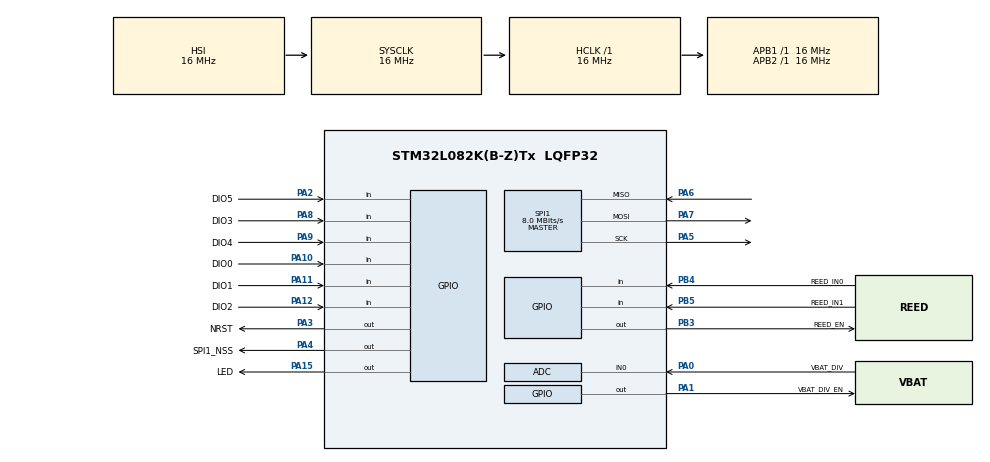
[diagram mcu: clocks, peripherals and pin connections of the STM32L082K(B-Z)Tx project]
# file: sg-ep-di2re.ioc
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ADC.SamplingTime=ADC_SAMPLETIME_7CYCLES_5
LPTIM1.ClockPrescaler=LPTIM_PRESCALER_DIV1
Mcu.Family=STM32L0
Mcu.Name=STM32L082K(B-Z)Tx
Mcu.Package=LQFP32
NVIC.LPTIM1_IRQn=true\:0\:0\:false\:false\:true\:true
PA0.GPIO_Label=VBAT_DIV
PA0.Mode=IN0
PA0.Signal=ADC_IN0
PA1.GPIO_Label=VBAT_DIV_EN
PA1.PinState=GPIO_PIN_SET
PA1.Signal=GPIO_Output
PA10.GPIO_Label=DIO0
PA10.Signal=GPIO_Input
PA11.GPIO_Label=DIO1
PA11.Signal=GPIO_Input
PA12.GPIO_Label=DIO2
PA12.Signal=GPIO_Input
PA13.Mode=Serial_Wire
PA13.Signal=SYS_SWDIO
PA14.Mode=Serial_Wire
PA14.Signal=SYS_SWCLK
PA15.GPIO_Label=LED
PA15.Signal=GPIO_Output
PA2.GPIO_Label=DIO5
PA2.Signal=GPIO_Input
PA3.GPIO_Label=NRST
PA3.GPIO_ModeDefaultOutputPP=GPIO_MODE_OUTPUT_OD
PA3.PinState=GPIO_PIN_SET
PA3.Signal=GPIO_Output
PA4.GPIO_Label=SPI1_NSS
PA4.PinState=GPIO_PIN_SET
PA4.Signal=GPIO_Output
PA5.Mode=Full_Duplex_Master
PA5.Signal=SPI1_SCK
PA6.Mode=Full_Duplex_Master
PA6.Signal=SPI1_MISO
PA7.Mode=Full_Duplex_Master
PA7.Signal=SPI1_MOSI
PA8.GPIO_Label=DIO3
PA8.Signal=GPIO_Input
PA9.GPIO_Label=DIO4
PA9.Signal=GPIO_Input
PB3.GPIO_Label=REED_EN
PB3.Signal=GPIO_Output
PB4.GPIO_Label=REED_IN0
PB4.Signal=GPIO_Input
PB5.GPIO_Label=REED_IN1
PB5.Signal=GPIO_Input
PC14-OSC32_IN.Mode=LSE-External-Oscillator
PC14-OSC32_IN.Signal=RCC_OSC32_IN
PC15-OSC32_OUT.Mode=LSE-External-Oscillator
PC15-OSC32_OUT.Signal=RCC_OSC32_OUT
ProjectManager.HeapSize=0x200
ProjectManager.StackSize=0x400
ProjectManager.TargetToolchain=SW4STM32
RCC.AHBFreq_Value=16000000
RCC.APB1Freq_Value=16000000
RCC.APB1TimFreq_Value=16000000
RCC.APB2Freq_Value=16000000
RCC.APB2TimFreq_Value=16000000
RCC.EnableCSSLSE=true
RCC.HCLKFreq_Value=16000000
RCC.HSE_VALUE=8000000
RCC.HSI16_VALUE=16000000
RCC.HSI48_VALUE=48000000
RCC.HSI_VALUE=16000000
RCC.LptimClockSelection=RCC_LPTIM1CLKSOURCE_LSE
RCC.MSIClockRange=RCC_MSIRANGE_4
RCC.MSI_VALUE=1048000
RCC.RTCClockSelectionVirtual=RCC_RTCCLKSOURCE_LSE
RCC.SYSCLKFreq_VALUE=16000000
RCC.SYSCLKSource=RCC_SYSCLKSOURCE_HSI
RCC.VCOOutputFreq_Value=48000000
SPI1.CalculateBaudRate=8.0 MBits/s
SPI1.Direction=SPI_DIRECTION_2LINES
SPI1.Mode=SPI_MODE_MASTER
SPI1.VirtualType=VM_MASTER
VP_LPTIM1_VS_LPTIM_counterModeInternalClock.Mode=Counts__internal_clock_event_00
VP_RTC_VS_RTC_Activate.Mode=RTC_Enabled
board=sg-ep-di2re

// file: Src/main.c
/**
  ******************************************************************************
  * @file           : main.c
  * @brief          : Main program body
  ******************************************************************************
  ** This notice applies to any and all portions of this file
  * that are not between comment pairs USER CODE BEGIN and
  * USER CODE END. Other portions of this file, whether
  * inserted by the user or by software development tools
  * are owned by their respective copyright owners.
  *
  * COPYRIGHT(c) 2018 STMicroelectronics
  *
  * Redistribution and use in source and binary forms, with or without modification,
  * are permitted provided that the following conditions are met:
  *   1. Redistributions of source code must retain the above copyright notice,
  *      this list of conditions and the following disclaimer.
  *   2. Redistributions in binary form must reproduce the above copyright notice,
  *      this list of conditions and the following disclaimer in the documentation
  *      and/or other materials provided with the distribution.
  *   3. Neither the name of STMicroelectronics nor the names of its contributors
  *      may be used to endorse or promote products derived from this software
  *      without specific prior written permission.
  *
  * THIS SOFTWARE IS PROVIDED BY THE COPYRIGHT HOLDERS AND CONTRIBUTORS "AS IS"
  * AND ANY EXPRESS OR IMPLIED WARRANTIES, INCLUDING, BUT NOT LIMITED TO, THE
  * IMPLIED WARRANTIES OF MERCHANTABILITY AND FITNESS FOR A PARTICULAR PURPOSE ARE
  * DISCLAIMED. IN NO EVENT SHALL THE COPYRIGHT HOLDER OR CONTRIBUTORS BE LIABLE
  * FOR ANY DIRECT, INDIRECT, INCIDENTAL, SPECIAL, EXEMPLARY, OR CONSEQUENTIAL
  * DAMAGES (INCLUDING, BUT NOT LIMITED TO, PROCUREMENT OF SUBSTITUTE GOODS OR
  * SERVICES; LOSS OF USE, DATA, OR PROFITS; OR BUSINESS INTERRUPTION) HOWEVER
  * CAUSED AND ON ANY THEORY OF LIABILITY, WHETHER IN CONTRACT, STRICT LIABILITY,
  * OR TORT (INCLUDING NEGLIGENCE OR OTHERWISE) ARISING IN ANY WAY OUT OF THE USE
  * OF THIS SOFTWARE, EVEN IF ADVISED OF THE POSSIBILITY OF SUCH DAMAGE.
  *
  ******************************************************************************
  */
#include "main.h"
#include "stm32l0xx_hal.h"

/* USER CODE BEGIN Includes */
#include "sx1276.h"
#include "mac.h"

typedef enum {
    STATE_INIT,
    STATE_READ_INPUTS,
    STATE_READ_BATTERY,
    STATE_TRANSMIT,
    STATE_LOW_POWER,
} STATE_T;

#define LOW_POWER_SLEEP_CYCLE_MS                    (200)
#define BATT_VOLTAGE_READ_CYCLE_MS                  (24 * 60 * 60 * 1000)
#define BATT_VOLTAGE_READ_ERROR                     (0xFFFF)

#if defined( REGION_AS923 )

#define RF_FREQUENCY                                923000000 // Hz

#elif defined( REGION_AU915 )

#define RF_FREQUENCY                                915000000 // Hz

#elif defined( REGION_CN470 )

#define RF_FREQUENCY                                470000000 // Hz

#elif defined( REGION_CN779 )

#define RF_FREQUENCY                                779000000 // Hz

#elif defined( REGION_EU433 )

#define RF_FREQUENCY                                433000000 // Hz

#elif defined( REGION_EU868 )

#define RF_FREQUENCY                                868000000 // Hz

#elif defined( REGION_KR920 )

#define RF_FREQUENCY                                920000000 // Hz

#elif defined( REGION_IN865 )

#define RF_FREQUENCY                                865000000 // Hz

#elif defined( REGION_US915 )

#define RF_FREQUENCY                                915000000 // Hz

#elif defined( REGION_US915_HYBRID )

#define RF_FREQUENCY                                915000000 // Hz

#else
    #error "Please define a frequency band in the compiler options."
#endif

#define TX_OUTPUT_POWER                             14        // dBm

#if defined( USE_MODEM_LORA )

#define LORA_BANDWIDTH                              0         // [0: 125 kHz,
                                                              //  1: 250 kHz,
                                                              //  2: 500 kHz,
                                                              //  3: Reserved]
#define LORA_SPREADING_FACTOR                       9         // [SF7..SF12]
#define LORA_CODINGRATE                             1         // [1: 4/5,
                                                              //  2: 4/6,
                                                              //  3: 4/7,
                                                              //  4: 4/8]
#define LORA_PREAMBLE_LENGTH                        8         // Same for Tx and Rx
#define LORA_SYMBOL_TIMEOUT                         0         // Symbols
#define LORA_FIX_LENGTH_PAYLOAD_ON                  false
#define LORA_CRC_ON                                 true
#define LORA_CRC_OFF                                false
#define LORA_IQ_INVERSION_ON                        false

#elif defined( USE_MODEM_FSK )

#define FSK_FDEV                                    25000     // Hz
#define FSK_DATARATE                                50000     // bps
#define FSK_BANDWIDTH                               1000000   // Hz >> DSB in sx126x
#define FSK_AFC_BANDWIDTH                           1000000   // Hz
#define FSK_PREAMBLE_LENGTH                         5         // Same for Tx and Rx
#define FSK_FIX_LENGTH_PAYLOAD_ON                   false

#else
    #error "Please define a modem in the compiler options."
#endif

#define RX_TIMEOUT_VALUE                            1000

/* USER CODE END Includes */

ADC_HandleTypeDef hadc;

LPTIM_HandleTypeDef hlptim1;

RTC_HandleTypeDef hrtc;

SPI_HandleTypeDef hspi1;

/* USER CODE BEGIN PV */
/* Private variables ---------------------------------------------------------*/
static volatile STATE_T state = STATE_INIT;
static uint8_t secret_key[] = {0xA1, 0x2F, 0x43, 0xBB};

/* USER CODE END PV */

void SystemClock_Config(void);
static void MX_GPIO_Init(void);
static void MX_SPI1_Init(void);
static void MX_LPTIM1_Init(void);
static void MX_ADC_Init(void);
static void MX_RTC_Init(void);

/* USER CODE BEGIN PFP */

//extern void initialise_monitor_handles(void);

/* Private function prototypes -----------------------------------------------*/

/* USER CODE END PFP */

/* USER CODE BEGIN 0 */

void DelayNOP(const uint32_t count) {
    for(uint32_t i = 0; i < count; i++) {
        asm("NOP");
    }
}

/**
  * @brief  Aturoreload match callback in non blocking mode
  * @param  hlptim : LPTIM handle
  * @retval None
  */
void HAL_LPTIM_AutoReloadMatchCallback(LPTIM_HandleTypeDef *hlptim)
{
  /* Prevent unused argument(s) compilation warning */
//  if(hlptim == &hlptim1) {
//      switch(state) {
//      case STATE_LOW_POWER:
//          state = STATE_RUN;
//          break;
//      default:
//          state = STATE_INIT;
//      }
//  }
}

/* USER CODE END 0 */

int main(void)
{
  /* USER CODE BEGIN 1 */
    static GPIO_PinState reed_ch0;
    static GPIO_PinState reed_ch0_old;
    static GPIO_PinState reed_ch1;
    static GPIO_PinState reed_ch1_old;
    static uint32_t adc_val;
    static uint32_t batt_millivolts;
    static uint8_t frame[5] = {0};
    static uint32_t lptim_sleep_value;
    static uint32_t read_batt_cnt;
    uint16_t mac;

  /* USER CODE END 1 */

  /* MCU Configuration----------------------------------------------------------*/

  /* Reset of all peripherals, Initializes the Flash interface and the Systick. */
  HAL_Init();

  /* Configure the system clock */
  SystemClock_Config();

  /* Initialize all configured peripherals */
  MX_GPIO_Init();
  MX_SPI1_Init();
  MX_LPTIM1_Init();
  MX_ADC_Init();
  MX_RTC_Init();
  /* USER CODE BEGIN 2 */

  if (HAL_ADCEx_Calibration_Start(&hadc, ADC_SINGLE_ENDED) != HAL_OK)
  {
      Error_Handler();
  }

  //  HAL_DBGMCU_EnableDBGSleepMode();
    HAL_DBGMCU_EnableDBGStopMode();
  //  HAL_DBGMCU_EnableDBGStandbyMode();

    lptim_sleep_value = LOW_POWER_SLEEP_CYCLE_MS * HAL_RCCEx_GetPeriphCLKFreq(RCC_PERIPHCLK_RTC) / 1000;    // using RCC_PERIPHCLK_RTC becuase RCC_PERIPHCLK_LTIM is not working

    SX1276Init();

    SX1276SetChannel( RF_FREQUENCY );

    SX1276SetTxConfig( MODEM_LORA, TX_OUTPUT_POWER, 0, LORA_BANDWIDTH,
                                   LORA_SPREADING_FACTOR, LORA_CODINGRATE,
                                   LORA_PREAMBLE_LENGTH, LORA_FIX_LENGTH_PAYLOAD_ON,
                                   LORA_CRC_OFF, 0, 0, LORA_IQ_INVERSION_ON, 3000 );

//    SX1276SetRxConfig( MODEM_LORA, LORA_BANDWIDTH, LORA_SPREADING_FACTOR,
//                                   LORA_CODINGRATE, 0, LORA_PREAMBLE_LENGTH,
//                                   LORA_SYMBOL_TIMEOUT, LORA_FIX_LENGTH_PAYLOAD_ON,
//                                   0, true, 0, 0, LORA_IQ_INVERSION_ON, true );

  /* USER CODE END 2 */

  /* Infinite loop */
  /* USER CODE BEGIN WHILE */
    while (1) {

        switch (state) {

        case STATE_INIT:
            HAL_GPIO_WritePin(REED_EN_GPIO_Port, REED_EN_Pin, GPIO_PIN_SET);
            reed_ch0 = HAL_GPIO_ReadPin(REED_IN0_GPIO_Port, REED_IN0_Pin);
            reed_ch0_old = reed_ch0;
            reed_ch1 = HAL_GPIO_ReadPin(REED_IN1_GPIO_Port, REED_IN1_Pin);
            reed_ch1_old = reed_ch1;
            HAL_GPIO_WritePin(REED_EN_GPIO_Port, REED_EN_Pin, GPIO_PIN_RESET);
            read_batt_cnt = (BATT_VOLTAGE_READ_CYCLE_MS - 500) / LOW_POWER_SLEEP_CYCLE_MS;
            state = STATE_LOW_POWER;
            break;

        case STATE_READ_INPUTS:
            HAL_GPIO_WritePin(REED_EN_GPIO_Port, REED_EN_Pin, GPIO_PIN_SET);
            reed_ch0 = HAL_GPIO_ReadPin(REED_IN0_GPIO_Port, REED_IN0_Pin);
            reed_ch1 = HAL_GPIO_ReadPin(REED_IN1_GPIO_Port, REED_IN1_Pin);
            HAL_GPIO_WritePin(REED_EN_GPIO_Port, REED_EN_Pin, GPIO_PIN_RESET);
            if ((reed_ch0 && !reed_ch0_old) || (reed_ch1 && !reed_ch1_old))  {
                state = STATE_TRANSMIT;
            }
            else if ((!reed_ch0 && reed_ch0_old) || (!reed_ch1 && reed_ch1_old))  {
                state = STATE_TRANSMIT;
            } else {
                if(read_batt_cnt >= (BATT_VOLTAGE_READ_CYCLE_MS / LOW_POWER_SLEEP_CYCLE_MS)) {
                    state = STATE_READ_BATTERY;
                    read_batt_cnt = 0;
                }
                else {
                    state = STATE_LOW_POWER;
                }
            }
            reed_ch0_old = reed_ch0;
            reed_ch1_old = reed_ch1;
            read_batt_cnt++;
            break;

        case STATE_READ_BATTERY:
            HAL_GPIO_WritePin(VBAT_DIV_EN_GPIO_Port, VBAT_DIV_EN_Pin, GPIO_PIN_RESET);
            if (HAL_ADC_Start(&hadc) == HAL_OK) {
                HAL_ADC_PollForConversion(&hadc, 20);
                if ((HAL_ADC_GetState(&hadc) & HAL_ADC_STATE_REG_EOC) == HAL_ADC_STATE_REG_EOC) {
                    adc_val = HAL_ADC_GetValue(&hadc);
                    batt_millivolts = (3349000 >> 12) * (adc_val << 1);
                    batt_millivolts = batt_millivolts / 1000;
                }
                else {
                   batt_millivolts = BATT_VOLTAGE_READ_ERROR;
                }
            }
            else {
                batt_millivolts = BATT_VOLTAGE_READ_ERROR;
            }
            HAL_GPIO_WritePin(VBAT_DIV_EN_GPIO_Port, VBAT_DIV_EN_Pin, GPIO_PIN_SET);

            state = STATE_TRANSMIT;
            break;

        case STATE_LOW_POWER:
            SX1276SetSleep();

            //Start time in one shot mode
            HAL_LPTIM_OnePulse_Start(&hlptim1, 0, lptim_sleep_value);

            // Enable Compare match interrupt
            __HAL_LPTIM_ENABLE_IT(&hlptim1, LPTIM_IT_CMPM);

            // Disable the Power Voltage Detector
            HAL_PWR_DisablePVD();

            // Enable Ultra low power mode
            HAL_PWREx_EnableUltraLowPower();

            // Enable the fast wake up from Ultra low power mode
            HAL_PWREx_EnableFastWakeUp();

            __HAL_PWR_CLEAR_FLAG(PWR_FLAG_WU);
//              HAL_GPIO_WritePin(LED_GPIO_Port, LED_Pin, GPIO_PIN_RESET);
            HAL_PWR_EnterSTOPMode(PWR_LOWPOWERREGULATOR_ON, PWR_STOPENTRY_WFI);
//              HAL_GPIO_WritePin(LED_GPIO_Port, LED_Pin, GPIO_PIN_SET);

            HAL_PWR_EnablePVD();
            __HAL_LPTIM_DISABLE_IT(&hlptim1, LPTIM_IT_CMPM);
            /* Enable HSI */
            __HAL_RCC_HSI_CONFIG(RCC_HSI_ON);
            /* Wait till HSE is ready */
            while ( __HAL_RCC_GET_FLAG( RCC_FLAG_HSIRDY ) == RESET);  //TODO guard

            state = STATE_READ_INPUTS;
            break;

        case STATE_TRANSMIT:
            // measured transmit duration is around 15ms
            HAL_GPIO_WritePin(LED_GPIO_Port, LED_Pin, GPIO_PIN_SET);

            frame[0] = (reed_ch1 << 1) | reed_ch0;
            frame[1] = (uint8_t)batt_millivolts;
            frame[2] = (uint8_t)(batt_millivolts >> 8);
            mac = MAC_hash(secret_key, sizeof(secret_key), frame, 3);
            frame[3] = (uint8_t)mac;
            frame[4] = (uint8_t)(mac >> 8);

            SX1276Send(frame, sizeof(frame));
            do {
                HAL_Delay(1);
            } while (SX1276Read(REG_LR_IRQFLAGS) & RFLR_IRQFLAGS_TXDONE); // TODO guard
            HAL_GPIO_WritePin(LED_GPIO_Port, LED_Pin, GPIO_PIN_RESET);
            state = STATE_LOW_POWER;
            break;

        default:
            state = STATE_INIT;

        }
  /* USER CODE END WHILE */

  }

}

void SystemClock_Config(void)
{

  RCC_OscInitTypeDef RCC_OscInitStruct;
  RCC_ClkInitTypeDef RCC_ClkInitStruct;
  RCC_PeriphCLKInitTypeDef PeriphClkInit;

    /**Configure the main internal regulator output voltage
    */
  __HAL_PWR_VOLTAGESCALING_CONFIG(PWR_REGULATOR_VOLTAGE_SCALE1);

    /**Configure LSE Drive Capability
    */
  HAL_PWR_EnableBkUpAccess();

  __HAL_RCC_LSEDRIVE_CONFIG(RCC_LSEDRIVE_LOW);

    /**Initializes the CPU, AHB and APB busses clocks
    */
  RCC_OscInitStruct.OscillatorType = RCC_OSCILLATORTYPE_HSI|RCC_OSCILLATORTYPE_LSE;
  RCC_OscInitStruct.LSEState = RCC_LSE_ON;
  RCC_OscInitStruct.HSIState = RCC_HSI_ON;
  RCC_OscInitStruct.HSICalibrationValue = 16;
  RCC_OscInitStruct.PLL.PLLState = RCC_PLL_NONE;
  if (HAL_RCC_OscConfig(&RCC_OscInitStruct) != HAL_OK)
  {
    _Error_Handler(__FILE__, __LINE__);
  }

    /**Initializes the CPU, AHB and APB busses clocks
    */
  RCC_ClkInitStruct.ClockType = RCC_CLOCKTYPE_HCLK|RCC_CLOCKTYPE_SYSCLK
                              |RCC_CLOCKTYPE_PCLK1|RCC_CLOCKTYPE_PCLK2;
  RCC_ClkInitStruct.SYSCLKSource = RCC_SYSCLKSOURCE_HSI;
  RCC_ClkInitStruct.AHBCLKDivider = RCC_SYSCLK_DIV1;
  RCC_ClkInitStruct.APB1CLKDivider = RCC_HCLK_DIV1;
  RCC_ClkInitStruct.APB2CLKDivider = RCC_HCLK_DIV1;

  if (HAL_RCC_ClockConfig(&RCC_ClkInitStruct, FLASH_LATENCY_0) != HAL_OK)
  {
    _Error_Handler(__FILE__, __LINE__);
  }

  PeriphClkInit.PeriphClockSelection = RCC_PERIPHCLK_RTC|RCC_PERIPHCLK_LPTIM1;
  PeriphClkInit.RTCClockSelection = RCC_RTCCLKSOURCE_LSE;
  PeriphClkInit.LptimClockSelection = RCC_LPTIM1CLKSOURCE_LSE;

  if (HAL_RCCEx_PeriphCLKConfig(&PeriphClkInit) != HAL_OK)
  {
    _Error_Handler(__FILE__, __LINE__);
  }

    /**Enables the Clock Security System
    */
  HAL_RCCEx_EnableLSECSS();

    /**Configure the Systick interrupt time
    */
  HAL_SYSTICK_Config(HAL_RCC_GetHCLKFreq()/1000);

    /**Configure the Systick
    */
  HAL_SYSTICK_CLKSourceConfig(SYSTICK_CLKSOURCE_HCLK);

  /* SysTick_IRQn interrupt configuration */
  HAL_NVIC_SetPriority(SysTick_IRQn, 0, 0);
}

/* ADC init function */
static void MX_ADC_Init(void)
{

  ADC_ChannelConfTypeDef sConfig;

    /**Configure the global features of the ADC (Clock, Resolution, Data Alignment and number of conversion)
    */
  hadc.Instance = ADC1;
  hadc.Init.OversamplingMode = DISABLE;
  hadc.Init.ClockPrescaler = ADC_CLOCK_SYNC_PCLK_DIV1;
  hadc.Init.Resolution = ADC_RESOLUTION_12B;
  hadc.Init.SamplingTime = ADC_SAMPLETIME_7CYCLES_5;
  hadc.Init.ScanConvMode = ADC_SCAN_DIRECTION_FORWARD;
  hadc.Init.DataAlign = ADC_DATAALIGN_RIGHT;
  hadc.Init.ContinuousConvMode = DISABLE;
  hadc.Init.DiscontinuousConvMode = DISABLE;
  hadc.Init.ExternalTrigConvEdge = ADC_EXTERNALTRIGCONVEDGE_NONE;
  hadc.Init.ExternalTrigConv = ADC_SOFTWARE_START;
  hadc.Init.DMAContinuousRequests = DISABLE;
  hadc.Init.EOCSelection = ADC_EOC_SINGLE_CONV;
  hadc.Init.Overrun = ADC_OVR_DATA_PRESERVED;
  hadc.Init.LowPowerAutoWait = DISABLE;
  hadc.Init.LowPowerFrequencyMode = DISABLE;
  hadc.Init.LowPowerAutoPowerOff = DISABLE;
  if (HAL_ADC_Init(&hadc) != HAL_OK)
  {
    _Error_Handler(__FILE__, __LINE__);
  }

    /**Configure for the selected ADC regular channel to be converted.
    */
  sConfig.Channel = ADC_CHANNEL_0;
  sConfig.Rank = ADC_RANK_CHANNEL_NUMBER;
  if (HAL_ADC_ConfigChannel(&hadc, &sConfig) != HAL_OK)
  {
    _Error_Handler(__FILE__, __LINE__);
  }

}

/* LPTIM1 init function */
static void MX_LPTIM1_Init(void)
{

  hlptim1.Instance = LPTIM1;
  hlptim1.Init.Clock.Source = LPTIM_CLOCKSOURCE_APBCLOCK_LPOSC;
  hlptim1.Init.Clock.Prescaler = LPTIM_PRESCALER_DIV1;
  hlptim1.Init.Trigger.Source = LPTIM_TRIGSOURCE_SOFTWARE;
  hlptim1.Init.OutputPolarity = LPTIM_OUTPUTPOLARITY_HIGH;
  hlptim1.Init.UpdateMode = LPTIM_UPDATE_IMMEDIATE;
  hlptim1.Init.CounterSource = LPTIM_COUNTERSOURCE_INTERNAL;
  if (HAL_LPTIM_Init(&hlptim1) != HAL_OK)
  {
    _Error_Handler(__FILE__, __LINE__);
  }

}

/* RTC init function */
static void MX_RTC_Init(void)
{

    /**Initialize RTC Only
    */
  hrtc.Instance = RTC;
  hrtc.Init.HourFormat = RTC_HOURFORMAT_24;
  hrtc.Init.AsynchPrediv = 127;
  hrtc.Init.SynchPrediv = 255;
  hrtc.Init.OutPut = RTC_OUTPUT_DISABLE;
  hrtc.Init.OutPutRemap = RTC_OUTPUT_REMAP_NONE;
  hrtc.Init.OutPutPolarity = RTC_OUTPUT_POLARITY_HIGH;
  hrtc.Init.OutPutType = RTC_OUTPUT_TYPE_OPENDRAIN;
  if (HAL_RTC_Init(&hrtc) != HAL_OK)
  {
    _Error_Handler(__FILE__, __LINE__);
  }

}

/* SPI1 init function */
static void MX_SPI1_Init(void)
{

  /* SPI1 parameter configuration*/
  hspi1.Instance = SPI1;
  hspi1.Init.Mode = SPI_MODE_MASTER;
  hspi1.Init.Direction = SPI_DIRECTION_2LINES;
  hspi1.Init.DataSize = SPI_DATASIZE_8BIT;
  hspi1.Init.CLKPolarity = SPI_POLARITY_LOW;
  hspi1.Init.CLKPhase = SPI_PHASE_1EDGE;
  hspi1.Init.NSS = SPI_NSS_SOFT;
  hspi1.Init.BaudRatePrescaler = SPI_BAUDRATEPRESCALER_2;
  hspi1.Init.FirstBit = SPI_FIRSTBIT_MSB;
  hspi1.Init.TIMode = SPI_TIMODE_DISABLE;
  hspi1.Init.CRCCalculation = SPI_CRCCALCULATION_DISABLE;
  hspi1.Init.CRCPolynomial = 7;
  if (HAL_SPI_Init(&hspi1) != HAL_OK)
  {
    _Error_Handler(__FILE__, __LINE__);
  }

}

/** Configure pins as
        * Analog
        * Input
        * Output
        * EVENT_OUT
        * EXTI
*/
static void MX_GPIO_Init(void)
{

  GPIO_InitTypeDef GPIO_InitStruct;

  /* GPIO Ports Clock Enable */
  __HAL_RCC_GPIOC_CLK_ENABLE();
  __HAL_RCC_GPIOA_CLK_ENABLE();
  __HAL_RCC_GPIOB_CLK_ENABLE();

  /*Configure GPIO pin Output Level */
  HAL_GPIO_WritePin(GPIOA, VBAT_DIV_EN_Pin|NRST_Pin|SPI1_NSS_Pin, GPIO_PIN_SET);

  /*Configure GPIO pin Output Level */
  HAL_GPIO_WritePin(LED_GPIO_Port, LED_Pin, GPIO_PIN_RESET);

  /*Configure GPIO pin Output Level */
  HAL_GPIO_WritePin(REED_EN_GPIO_Port, REED_EN_Pin, GPIO_PIN_RESET);

  /*Configure GPIO pins : VBAT_DIV_EN_Pin SPI1_NSS_Pin LED_Pin */
  GPIO_InitStruct.Pin = VBAT_DIV_EN_Pin|SPI1_NSS_Pin|LED_Pin;
  GPIO_InitStruct.Mode = GPIO_MODE_OUTPUT_PP;
  GPIO_InitStruct.Pull = GPIO_NOPULL;
  GPIO_InitStruct.Speed = GPIO_SPEED_FREQ_LOW;
  HAL_GPIO_Init(GPIOA, &GPIO_InitStruct);

  /*Configure GPIO pins : DIO5_Pin DIO3_Pin DIO4_Pin DIO0_Pin
                           DIO1_Pin DIO2_Pin */
  GPIO_InitStruct.Pin = DIO5_Pin|DIO3_Pin|DIO4_Pin|DIO0_Pin
                          |DIO1_Pin|DIO2_Pin;
  GPIO_InitStruct.Mode = GPIO_MODE_INPUT;
  GPIO_InitStruct.Pull = GPIO_NOPULL;
  HAL_GPIO_Init(GPIOA, &GPIO_InitStruct);

  /*Configure GPIO pin : NRST_Pin */
  GPIO_InitStruct.Pin = NRST_Pin;
  GPIO_InitStruct.Mode = GPIO_MODE_OUTPUT_OD;
  GPIO_InitStruct.Pull = GPIO_NOPULL;
  GPIO_InitStruct.Speed = GPIO_SPEED_FREQ_LOW;
  HAL_GPIO_Init(NRST_GPIO_Port, &GPIO_InitStruct);

  /*Configure GPIO pin : REED_EN_Pin */
  GPIO_InitStruct.Pin = REED_EN_Pin;
  GPIO_InitStruct.Mode = GPIO_MODE_OUTPUT_PP;
  GPIO_InitStruct.Pull = GPIO_NOPULL;
  GPIO_InitStruct.Speed = GPIO_SPEED_FREQ_LOW;
  HAL_GPIO_Init(REED_EN_GPIO_Port, &GPIO_InitStruct);

  /*Configure GPIO pins : REED_IN0_Pin REED_IN1_Pin */
  GPIO_InitStruct.Pin = REED_IN0_Pin|REED_IN1_Pin;
  GPIO_InitStruct.Mode = GPIO_MODE_INPUT;
  GPIO_InitStruct.Pull = GPIO_NOPULL;
  HAL_GPIO_Init(GPIOB, &GPIO_InitStruct);

}

void _Error_Handler(char *file, int line)
{
  while(1)
  {
  }
}

/************************ (C) COPYRIGHT STMicroelectronics *****END OF FILE****/
